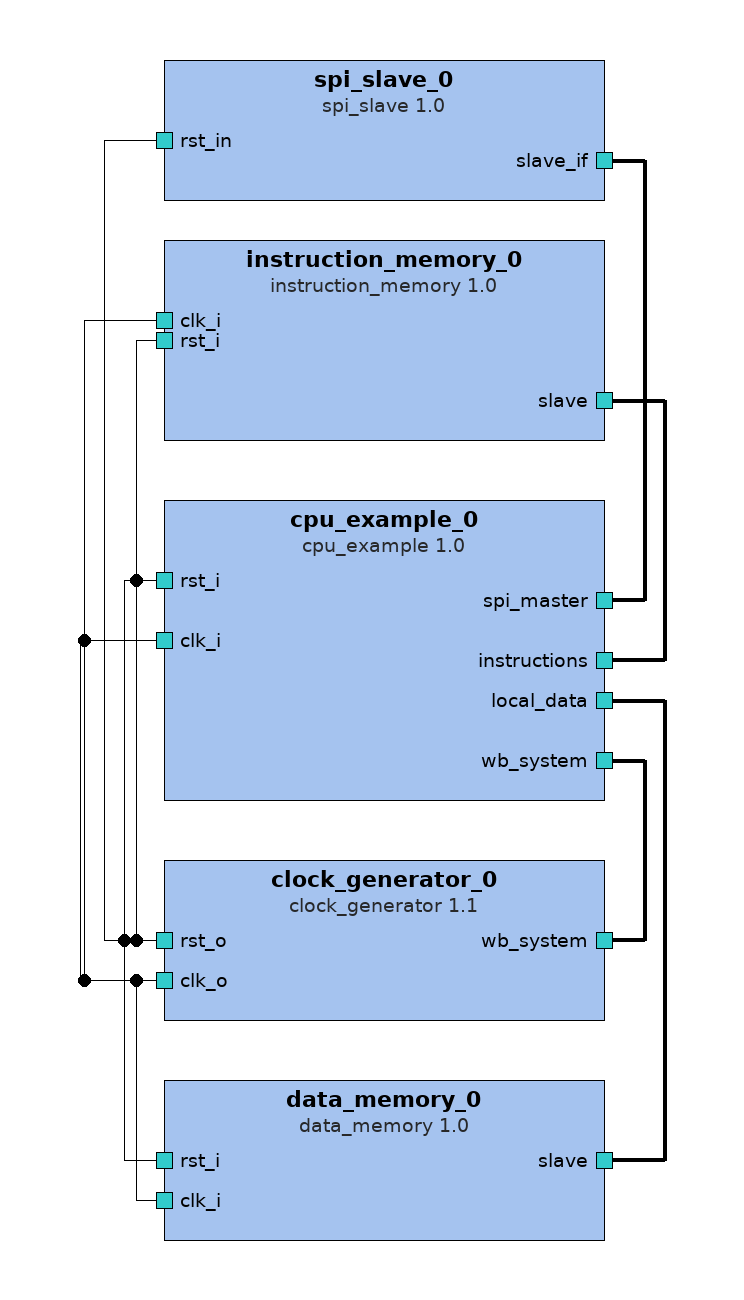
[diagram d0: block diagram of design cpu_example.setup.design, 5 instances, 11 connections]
<?xml version="1.0" encoding="UTF-8"?>
<ipxact:design xmlns:xsi="http://www.w3.org/2001/XMLSchema-instance" xmlns:ipxact="http://www.accellera.org/XMLSchema/IPXACT/1685-2014" xmlns:kactus2="http://kactus2.cs.tut.fi" xsi:schemaLocation="http://www.accellera.org/XMLSchema/IPXACT/1685-2014 http://www.accellera.org/XMLSchema/IPXACT/1685-2014/index.xsd"><ipxact:vendor>tut.fi</ipxact:vendor><ipxact:library>cpu.structure.test</ipxact:library>
 <ipxact:name>cpu_example.setup.design</ipxact:name><ipxact:version>1.0</ipxact:version><ipxact:componentInstances>
 <ipxact:componentInstance><ipxact:instanceName>spi_slave_0</ipxact:instanceName><ipxact:componentRef vendor="tut.fi" library="communication.template" name="spi_slave" version="1.0"/></ipxact:componentInstance>
 <ipxact:componentInstance><ipxact:instanceName>instruction_memory_0</ipxact:instanceName><ipxact:componentRef vendor="tut.fi" library="cpu.logic.test" name="instruction_memory" version="1.0"/></ipxact:componentInstance>
 <ipxact:componentInstance><ipxact:instanceName>cpu_example_0</ipxact:instanceName><ipxact:componentRef vendor="tut.fi" library="cpu.structure" name="cpu_example" version="1.0"/></ipxact:componentInstance>
 <ipxact:componentInstance><ipxact:instanceName>clock_generator_0</ipxact:instanceName><ipxact:componentRef vendor="tut.fi" library="other.test" name="clock_generator" version="1.1"/></ipxact:componentInstance>
 <ipxact:componentInstance><ipxact:instanceName>data_memory_0</ipxact:instanceName><ipxact:componentRef vendor="tut.fi" library="cpu.logic.test" name="data_memory" version="1.0"/></ipxact:componentInstance>
</ipxact:componentInstances><ipxact:interconnections>
 <ipxact:interconnection><ipxact:name>cpu_example_0_wb_system_to_clock_generator_0_wb_system</ipxact:name><ipxact:activeInterface componentRef="cpu_example_0" busRef="wb_system"/><ipxact:activeInterface componentRef="clock_generator_0" busRef="wb_system"/></ipxact:interconnection>
 <ipxact:interconnection><ipxact:name>instruction_memory_0_slave_to_cpu_example_0_iaddr_o</ipxact:name><ipxact:activeInterface componentRef="instruction_memory_0" busRef="slave"/><ipxact:activeInterface componentRef="cpu_example_0" busRef="instructions"/></ipxact:interconnection>
 <ipxact:interconnection><ipxact:name>cpu_example_0_local_data_to_data_memory_0_slave</ipxact:name><ipxact:activeInterface componentRef="cpu_example_0" busRef="local_data"/><ipxact:activeInterface componentRef="data_memory_0" busRef="slave"/></ipxact:interconnection>
 <ipxact:interconnection><ipxact:name>spi_slave_0_slave_if_to_cpu_example_0_spi_master</ipxact:name><ipxact:activeInterface componentRef="spi_slave_0" busRef="slave_if"/><ipxact:activeInterface componentRef="cpu_example_0" busRef="spi_master"/></ipxact:interconnection>
</ipxact:interconnections><ipxact:adHocConnections>
 <ipxact:adHocConnection><ipxact:name>spi_slave_0_rst_in_to_clock_generator_0_rst_o</ipxact:name><ipxact:portReferences><ipxact:internalPortReference componentRef="spi_slave_0" portRef="rst_in"/><ipxact:internalPortReference componentRef="clock_generator_0" portRef="rst_o"/></ipxact:portReferences></ipxact:adHocConnection>
 <ipxact:adHocConnection><ipxact:name>clock_generator_0_rst_o_to_instruction_memory_0_rst_i</ipxact:name><ipxact:portReferences><ipxact:internalPortReference componentRef="clock_generator_0" portRef="rst_o"/><ipxact:internalPortReference componentRef="instruction_memory_0" portRef="rst_i"/></ipxact:portReferences></ipxact:adHocConnection>
 <ipxact:adHocConnection><ipxact:name>clock_generator_0_rst_o_to_cpu_example_0_rst_i</ipxact:name><ipxact:portReferences><ipxact:internalPortReference componentRef="clock_generator_0" portRef="rst_o"/><ipxact:internalPortReference componentRef="cpu_example_0" portRef="rst_i"/></ipxact:portReferences></ipxact:adHocConnection>
 <ipxact:adHocConnection><ipxact:name>clock_generator_0_clk_o_to_cpu_example_0_clk_i</ipxact:name><ipxact:portReferences><ipxact:internalPortReference componentRef="clock_generator_0" portRef="clk_o"/><ipxact:internalPortReference componentRef="cpu_example_0" portRef="clk_i"/></ipxact:portReferences></ipxact:adHocConnection>
 <ipxact:adHocConnection><ipxact:name>clock_generator_0_clk_o_to_instruction_memory_0_clk_i</ipxact:name><ipxact:portReferences><ipxact:internalPortReference componentRef="clock_generator_0" portRef="clk_o"/><ipxact:internalPortReference componentRef="instruction_memory_0" portRef="clk_i"/></ipxact:portReferences></ipxact:adHocConnection>
 <ipxact:adHocConnection><ipxact:name>clock_generator_0_rst_o_to_data_memory_0_rst_i</ipxact:name><ipxact:portReferences><ipxact:internalPortReference componentRef="clock_generator_0" portRef="rst_o"/><ipxact:internalPortReference componentRef="data_memory_0" portRef="rst_i"/></ipxact:portReferences></ipxact:adHocConnection>
 <ipxact:adHocConnection><ipxact:name>data_memory_0_clk_i_to_clock_generator_0_clk_o</ipxact:name><ipxact:portReferences><ipxact:internalPortReference componentRef="data_memory_0" portRef="clk_i"/><ipxact:internalPortReference componentRef="clock_generator_0" portRef="clk_o"/></ipxact:portReferences></ipxact:adHocConnection>
</ipxact:adHocConnections></ipxact:design>

